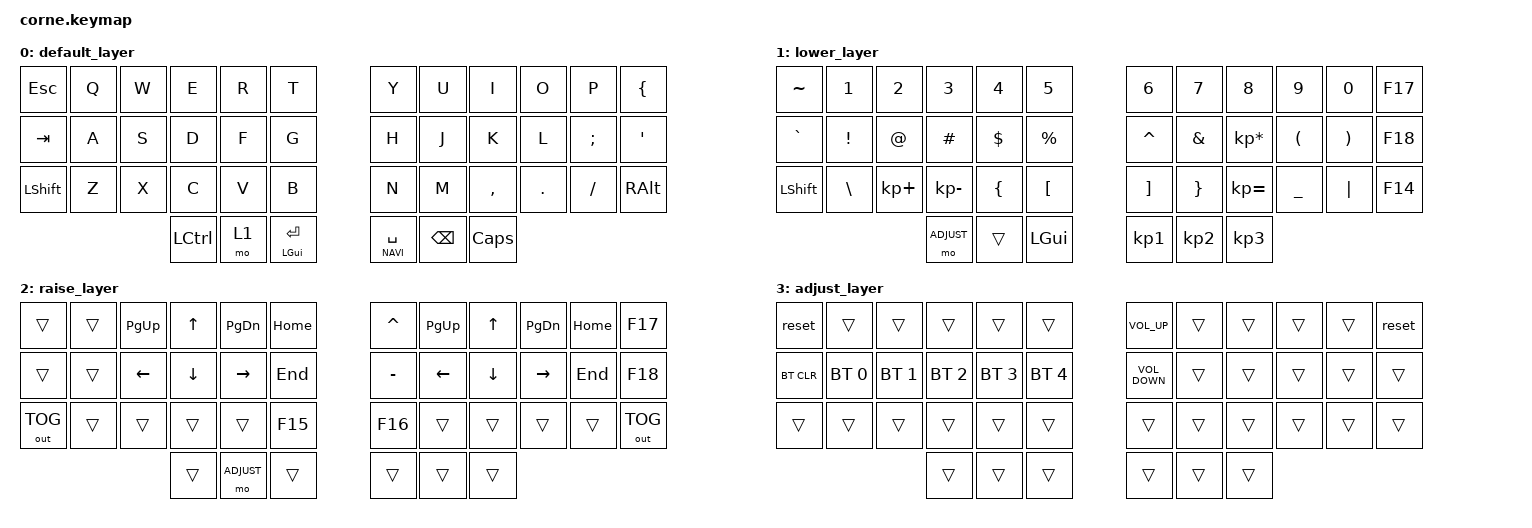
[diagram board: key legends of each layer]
/*
 * Copyright (c) 2020 The ZMK Contributors
 *
 * SPDX-License-Identifier: MIT
 * To use home rows - &hm LSHFT F
 */

#include <behaviors.dtsi>
#include <dt-bindings/zmk/keys.h>
#include <dt-bindings/zmk/bt.h>
#include <dt-bindings/zmk/outputs.h>

#define QWERTY 0
#define NUMB 1
#define NAVI 2
#define ADJUST 3

/ {

    behaviors {        
        hm: homerow_mods {
        compatible = "zmk,behavior-hold-tap";
        label = "HOMEROW_MODS";
        #binding-cells = <2>;
        tapping-term-ms = <155>;
        quick_tap_ms = <0>;
        flavor = "tap-preferred";
        bindings = <&kp>, <&kp>;
        };
    };

        keymap {
                compatible = "zmk,keymap";

                default_layer {
// .------------------------------------------------------------------.       .---------------------------------------------------------------.
// |   ESC        |    Q    |    W   |   E    |    R    |     T       |       |   Y       |    U    |    I    |    O    |     P    |     [    |
// |--------------+---------+--------+--------+---------+-------------|       |-----------+---------+---------+---------+----------+----------|
// |   CTRL/Tab   |    A    |    S   |   D    |    F    |     G       |       |   H       |    J    |    K    |    L    |     ;    |     '    |
// |--------------+---------+--------+--------+---------+-------------|       |-----------+---------+---------+---------+----------+----------|
// |   SHFT       |    Z    |    X   |   C    |    V    |     B       |       |   N       |    M    |    ,    |    .    |     /    |    ALT   |
// '---------------------------------+--------+---------+-------------+       |-----------+---------+---------+-------------------------------'
//                                   |  LCTRL |   MO1   |   CMD-ENT   |       |  MO2-SPC  |   BKSP  |  CAPS   |
//                                   '--------+---------+-------------'       '-----------+---------+---------'
                        bindings = <
   &kp ESC        &kp Q       &kp W      &kp E     &kp R           &kp T             &kp Y  &kp U           &kp I        &kp O     &kp P      &kp LEFT_BRACE
   &kp TAB        &kp A       &kp S      &kp D     &kp F           &kp G             &kp H  &kp J           &kp K        &kp L     &kp SEMI   &kp SQT
   &kp LSHFT      &kp Z       &kp X      &kp C     &kp V           &kp B             &kp N  &kp M           &kp COMMA    &kp DOT   &kp FSLH   &kp RALT
                  &kp LCTRL   &mo 1      &mt LGUI RET              &lt NAVI SPACE    &kp BSPC    &kp CAPSLOCK
                        >;
                };
                
                lower_layer {
// .--------------------------------------------------------------.       .-----------------------------------------------------------.
// |      ~       |    1    |    2   |   3    |    4    |    5    |       |   6   |    7    |    8    |    9    |     0    |    `     |
// |--------------+---------+--------+--------+---------+---------|       |-------+---------+---------+---------+----------+----------|
// |      `       |    !    |    @   |   #    |    $    |    %    |       |   ^   |    &    |    *    |    (    |     )    |     :    |
// |--------------+---------+--------+--------+---------+---------|       |-------+---------+---------+---------+----------+----------|
// |   SHFT       |    \    |    +   |   -    |    {    |    [    |       |   ]   |    }    |    =    |    _    |     /    |          |
// '---------------------------------+--------+---------+---------+       |-------+---------+---------+-------------------------------'
//                                   |  MO3   |         |   CMD   |       |   ,   |    .    |   ?     |
//                                   '--------+---------+---------'       '-------+---------+---------'
                        bindings = <
   &kp TILDE    &kp N1          &kp N2            &kp N3             &kp N4               &kp N5            &kp N6                   &kp N7                     &kp N8                 &kp N9                   &kp N0     &kp F17
   &kp GRAVE    &kp EXCL        &kp AT            &kp HASH           &kp DLLR             &kp PRCNT         &kp CARET                &kp AMPS                   &kp KP_MULTIPLY        &kp LPAR                 &kp RPAR   &kp F18
   &kp LSHFT    &kp BACKSLASH   &kp KP_PLUS       &kp KP_MINUS       &kp LEFT_BRACE       &kp LEFT_BRACKET  &kp RIGHT_BRACKET        &kp RIGHT_BRACE            &kp KP_EQUAL           &kp UNDERSCORE           &kp PIPE   &kp F14
                                               &mo ADJUST         &trans               &kp LGUI          &kp KP_N1                &kp KP_N2                  &kp KP_N3
                        >;
                };
                
                raise_layer {
// .----------------------------------------------------------------.       .-----------------------------------------------------------------.
// |                |       |   PU   |   UP   |    PD    |   HOME   |       |  HOME   |    PU    |    UP   |   PD    |          |             |
// |----------------+-------+--------+--------+----------+----------|       |---------+----------+---------+---------+----------+-------------|
// |                |       |  LEFT  |  DOWN  |   RIGHT  |   END    |       |  END    |   LEFT   |   DOWN  |  RIGHT  |          |             |
// |----------------+-------+--------+--------+----------+----------|       |---------+----------+---------+---------+----------+-------------|
// |     OUT_TOG    |       |        |        |          |          |       |         |          |         |         |          |   OUT_TOG   |
// '---------------------------------+--------+----------+----------+       |---------+----------+---------+----------------------------------'
//                                   |        |   MO3    |          |       |         |          |         |
//                                   '--------+----------+----------'       '---------+----------+---------'

                        bindings = <
   &trans          &trans     &kp PAGE_UP        &kp UP_ARROW      &kp PAGE_DOWN       &kp HOME                &kp CARET            &kp PAGE_UP             &kp UP_ARROW       &kp PAGE_DOWN      &kp HOME     &kp F17
   &trans          &trans     &kp LEFT_ARROW     &kp DOWN_ARROW    &kp RIGHT_ARROW     &kp END                 &kp MINUS            &kp LEFT_ARROW          &kp DOWN_ARROW     &kp RIGHT_ARROW    &kp END      &kp F18
   &out OUT_TOG    &trans     &trans             &trans            &trans              &kp F15                 &kp F16              &trans                 &trans            &trans            &trans       &out OUT_TOG
                              &trans             &mo ADJUST        &trans              &trans   &trans   &trans
                        >;
                };

                adjust_layer {
// .--------------------------------------------------------.       .--------------------------------------------------------------.
// |         |        |        |        |         |         |       |  VOL+  |        |         |         |          |             |
// |---------+--------+--------+--------+---------+---------|       |--------+--------+---------+---------+----------+-------------|
// |  BTCLR  |  BT1   |  BT2   |  BT3   |  BT4    |  BT5    |       |  VOL-  |        |         |         |          |             |
// |---------+--------+--------+--------+---------+---------|       |--------+--------+---------+---------+----------+-------------|
// |         |        |        |        |         |         |       |        |        |         |         |          |             |
// '---------------------------+--------+---------+---------+       |--------+--------+---------+----------------------------------'
//                             |        |         |         |       |        |        |         |
//                             '--------+---------+---------'       '--------+--------+---------'

                        bindings = <
   &reset      &trans          &trans         &trans          &trans          &trans            &kp C_VOLUME_UP    &trans &trans &trans &trans &reset
   &bt BT_CLR  &bt BT_SEL 0    &bt BT_SEL 1   &bt BT_SEL 2    &bt BT_SEL 3    &bt BT_SEL 4      &kp C_VOLUME_DOWN  &trans &trans &trans &trans &trans
   &trans      &trans          &trans         &trans          &trans          &trans            &trans             &trans &trans &trans &trans &trans
                                   &trans &trans &trans   &trans &trans &trans
                        >;
                };
        };
};
